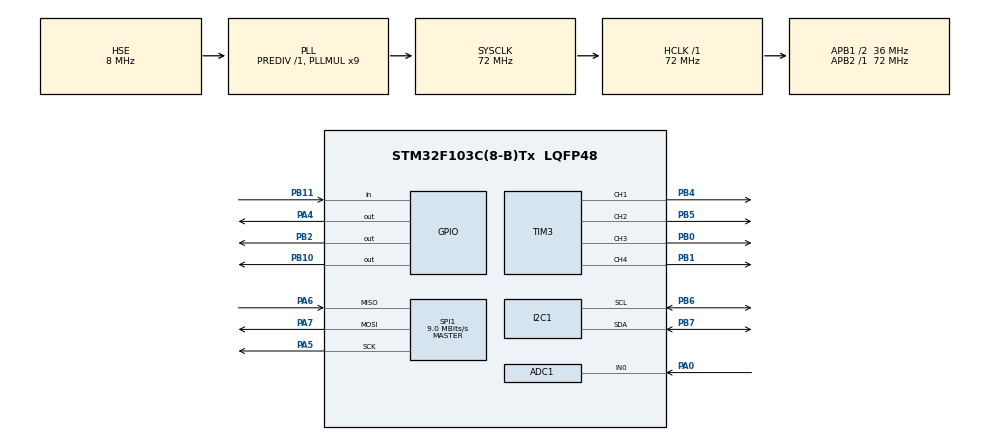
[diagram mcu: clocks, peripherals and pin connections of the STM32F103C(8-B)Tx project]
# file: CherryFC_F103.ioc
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ADC1.Channel-1\#ChannelRegularConversion=ADC_CHANNEL_0
ADC1.NbrOfConversionFlag=1
ADC1.Rank-1\#ChannelRegularConversion=1
ADC1.SamplingTime-1\#ChannelRegularConversion=ADC_SAMPLETIME_1CYCLE_5
ADC1.master=1
I2C1.I2C_Mode=I2C_Standard
Mcu.Family=STM32F1
Mcu.Name=STM32F103C(8-B)Tx
Mcu.Package=LQFP48
NVIC.PriorityGroup=NVIC_PRIORITYGROUP_4
PA0-WKUP.Signal=ADCx_IN0
PA4.Signal=GPIO_Output
PA5.Mode=Full_Duplex_Master
PA5.Signal=SPI1_SCK
PA6.Mode=Full_Duplex_Master
PA6.Signal=SPI1_MISO
PA7.Mode=Full_Duplex_Master
PA7.Signal=SPI1_MOSI
PB0.Signal=S_TIM3_CH3
PB1.Signal=S_TIM3_CH4
PB10.Signal=GPIO_Output
PB11.Signal=GPIO_Input
PB2.Signal=GPIO_Output
PB4.Signal=S_TIM3_CH1
PB5.Signal=S_TIM3_CH2
PB6.Mode=I2C
PB6.Signal=I2C1_SCL
PB7.Mode=I2C
PB7.Signal=I2C1_SDA
PD0-OSC_IN.Mode=HSE-External-Oscillator
PD0-OSC_IN.Signal=RCC_OSC_IN
PD1-OSC_OUT.Mode=HSE-External-Oscillator
PD1-OSC_OUT.Signal=RCC_OSC_OUT
ProjectManager.HeapSize=0x200
ProjectManager.StackSize=0x400
ProjectManager.TargetToolchain=STM32CubeIDE
RCC.ADCPresc=RCC_ADCPCLK2_DIV6
RCC.AHBFreq_Value=72000000
RCC.APB1CLKDivider=RCC_HCLK_DIV2
RCC.APB1Freq_Value=36000000
RCC.APB1TimFreq_Value=72000000
RCC.APB2Freq_Value=72000000
RCC.APB2TimFreq_Value=72000000
RCC.HCLKFreq_Value=72000000
RCC.PLLMUL=RCC_PLL_MUL9
RCC.PLLSourceVirtual=RCC_PLLSOURCE_HSE
RCC.SYSCLKFreq_VALUE=72000000
RCC.SYSCLKSource=RCC_SYSCLKSOURCE_PLLCLK
RCC.USBFreq_Value=72000000
SH.ADCx_IN0.0=ADC1_IN0,IN0
SH.S_TIM3_CH1.0=TIM3_CH1,Output Compare1 CH1
SH.S_TIM3_CH2.0=TIM3_CH2,Output Compare2 CH2
SH.S_TIM3_CH3.0=TIM3_CH3,Output Compare3 CH3
SH.S_TIM3_CH4.0=TIM3_CH4,Output Compare4 CH4
SPI1.BaudRatePrescaler=SPI_BAUDRATEPRESCALER_8
SPI1.CalculateBaudRate=9.0 MBits/s
SPI1.Direction=SPI_DIRECTION_2LINES
SPI1.Mode=SPI_MODE_MASTER
SPI1.VirtualType=VM_MASTER
TIM3.Channel-Output\ Compare1\ CH1=TIM_CHANNEL_1
TIM3.Channel-Output\ Compare2\ CH2=TIM_CHANNEL_2
TIM3.Channel-Output\ Compare3\ CH3=TIM_CHANNEL_3
TIM3.Channel-Output\ Compare4\ CH4=TIM_CHANNEL_4
VP_SYS_VS_ND.Mode=No_Debug
board=custom

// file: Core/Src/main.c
/* USER CODE BEGIN Header */
/**
  ******************************************************************************
  * @file           : main.c
  * @brief          : Main program body
  ******************************************************************************
  * @attention
  *
  * Copyright (c) 2025 STMicroelectronics.
  * All rights reserved.
  *
  * This software is licensed under terms that can be found in the LICENSE file
  * in the root directory of this software component.
  * If no LICENSE file comes with this software, it is provided AS-IS.
  *
  ******************************************************************************
  */
/* USER CODE END Header */
#include "main.h"

/* USER CODE BEGIN PD */
#define BMI270_CS_GPIO_Port GPIOA
#define BMI270_CS_Pin GPIO_PIN_4

#define SX1281_CS_GPIO_Port GPIOB
#define SX1281_CS_Pin GPIO_PIN_2
#define SX1281_RESET_GPIO_Port GPIOB
#define SX1281_RESET_Pin GPIO_PIN_10
#define SX1281_BUSY_GPIO_Port GPIOB
#define SX1281_BUSY_Pin GPIO_PIN_11

/* USER CODE END PD */

ADC_HandleTypeDef hadc1;

I2C_HandleTypeDef hi2c1;

SPI_HandleTypeDef hspi1;

TIM_HandleTypeDef htim3;

void SystemClock_Config(void);
static void MX_GPIO_Init(void);
static void MX_ADC1_Init(void);
static void MX_I2C1_Init(void);
static void MX_SPI1_Init(void);
static void MX_TIM3_Init(void);
/* USER CODE BEGIN PFP */
// 以下是从 flight_controller_core.h 复制过来的外部硬件驱动接口声明
uint32_t get_micros(void);
void read_imu_raw_data(int16_t* gyro_raw_out, int16_t* accel_raw_out);
void read_rc_receiver_channels(float* channels_out);
void write_motor_pwms(const float* motor_values);
/* USER CODE END PFP */

int main(void)
{

  /* MCU Configuration--------------------------------------------------------*/

  /* Reset of all peripherals, Initializes the Flash interface and the Systick. */
  HAL_Init();

  /* Configure the system clock */
  SystemClock_Config();

  /* Initialize all configured peripherals */
  MX_GPIO_Init();
  MX_ADC1_Init();
  MX_I2C1_Init();
  MX_SPI1_Init();
  MX_TIM3_Init();
  /* USER CODE BEGIN 2 */

  // 初始化BMI270
  if (BMI270_Init(&hspi1, BMI270_CS_GPIO_Port, BMI270_CS_Pin) != HAL_OK)
  {
    // 处理错误，例如LED闪烁
    Error_Handler();
  }

  // 初始化BMM150
  if (BMM150_Init(&hi2c1) != HAL_OK)
  {
    // 处理错误
    Error_Handler();
  }

  // 初始化SX1281
  if (SX1281_Init(&hspi1, SX1281_CS_GPIO_Port, SX1281_CS_Pin, SX1281_RESET_GPIO_Port, SX1281_RESET_Pin, SX1281_BUSY_GPIO_Port, SX1281_BUSY_Pin) != HAL_OK)
  {
    // 处理错误
    Error_Handler();
  }

  // 初始化DShot
  DShot_Init(&htim3, TIM_CHANNEL_1, TIM_CHANNEL_2, TIM_CHANNEL_3, TIM_CHANNEL_4); // 使用TIM3的四个通道

  FlightController_Init();

  /* USER CODE END 2 */

  /* Infinite loop */
  /* USER CODE BEGIN WHILE */
  while (1)
  {
      FlightController_Loop();
    /* USER CODE END WHILE */

  }
}

void SystemClock_Config(void)
{
  RCC_OscInitTypeDef RCC_OscInitStruct = {0};
  RCC_ClkInitTypeDef RCC_ClkInitStruct = {0};
  RCC_PeriphCLKInitTypeDef PeriphClkInit = {0};

  /** Initializes the RCC Oscillators according to the specified parameters
  * in the RCC_OscInitTypeDef structure.
  */
  RCC_OscInitStruct.OscillatorType = RCC_OSCILLATORTYPE_HSE;
  RCC_OscInitStruct.HSEState = RCC_HSE_ON;
  RCC_OscInitStruct.HSEPredivValue = RCC_HSE_PREDIV_DIV1;
  RCC_OscInitStruct.HSIState = RCC_HSI_ON;
  RCC_OscInitStruct.PLL.PLLState = RCC_PLL_ON;
  RCC_OscInitStruct.PLL.PLLSource = RCC_PLLSOURCE_HSE;
  RCC_OscInitStruct.PLL.PLLMUL = RCC_PLL_MUL9;
  if (HAL_RCC_OscConfig(&RCC_OscInitStruct) != HAL_OK)
  {
    Error_Handler();
  }

  /** Initializes the CPU, AHB and APB buses clocks
  */
  RCC_ClkInitStruct.ClockType = RCC_CLOCKTYPE_HCLK|RCC_CLOCKTYPE_SYSCLK
                              |RCC_CLOCKTYPE_PCLK1|RCC_CLOCKTYPE_PCLK2;
  RCC_ClkInitStruct.SYSCLKSource = RCC_SYSCLKSOURCE_PLLCLK;
  RCC_ClkInitStruct.AHBCLKDivider = RCC_SYSCLK_DIV1;
  RCC_ClkInitStruct.APB1CLKDivider = RCC_HCLK_DIV2;
  RCC_ClkInitStruct.APB2CLKDivider = RCC_HCLK_DIV1;

  if (HAL_RCC_ClockConfig(&RCC_ClkInitStruct, FLASH_LATENCY_2) != HAL_OK)
  {
    Error_Handler();
  }
  PeriphClkInit.PeriphClockSelection = RCC_PERIPHCLK_ADC;
  PeriphClkInit.AdcClockSelection = RCC_ADCPCLK2_DIV6;
  if (HAL_RCCEx_PeriphCLKConfig(&PeriphClkInit) != HAL_OK)
  {
    Error_Handler();
  }
}

static void MX_ADC1_Init(void)
{

  ADC_ChannelConfTypeDef sConfig = {0};

  /** Common config
  */
  hadc1.Instance = ADC1;
  hadc1.Init.ScanConvMode = ADC_SCAN_DISABLE;
  hadc1.Init.ContinuousConvMode = DISABLE;
  hadc1.Init.DiscontinuousConvMode = DISABLE;
  hadc1.Init.ExternalTrigConv = ADC_SOFTWARE_START;
  hadc1.Init.DataAlign = ADC_DATAALIGN_RIGHT;
  hadc1.Init.NbrOfConversion = 1;
  if (HAL_ADC_Init(&hadc1) != HAL_OK)
  {
    Error_Handler();
  }

  /** Configure Regular Channel
  */
  sConfig.Channel = ADC_CHANNEL_0;
  sConfig.Rank = ADC_REGULAR_RANK_1;
  sConfig.SamplingTime = ADC_SAMPLETIME_1CYCLE_5;
  if (HAL_ADC_ConfigChannel(&hadc1, &sConfig) != HAL_OK)
  {
    Error_Handler();
  }

}

static void MX_I2C1_Init(void)
{

  hi2c1.Instance = I2C1;
  hi2c1.Init.ClockSpeed = 100000;
  hi2c1.Init.DutyCycle = I2C_DUTYCYCLE_2;
  hi2c1.Init.OwnAddress1 = 0;
  hi2c1.Init.AddressingMode = I2C_ADDRESSINGMODE_7BIT;
  hi2c1.Init.DualAddressMode = I2C_DUALADDRESS_DISABLE;
  hi2c1.Init.OwnAddress2 = 0;
  hi2c1.Init.GeneralCallMode = I2C_GENERALCALL_DISABLE;
  hi2c1.Init.NoStretchMode = I2C_NOSTRETCH_DISABLE;
  if (HAL_I2C_Init(&hi2c1) != HAL_OK)
  {
    Error_Handler();
  }

}

static void MX_SPI1_Init(void)
{

  /* SPI1 parameter configuration*/
  hspi1.Instance = SPI1;
  hspi1.Init.Mode = SPI_MODE_MASTER;
  hspi1.Init.Direction = SPI_DIRECTION_2LINES;
  hspi1.Init.DataSize = SPI_DATASIZE_8BIT;
  hspi1.Init.CLKPolarity = SPI_POLARITY_LOW;
  hspi1.Init.CLKPhase = SPI_PHASE_1EDGE;
  hspi1.Init.NSS = SPI_NSS_SOFT;
  hspi1.Init.BaudRatePrescaler = SPI_BAUDRATEPRESCALER_8;
  hspi1.Init.FirstBit = SPI_FIRSTBIT_MSB;
  hspi1.Init.TIMode = SPI_TIMODE_DISABLE;
  hspi1.Init.CRCCalculation = SPI_CRCCALCULATION_DISABLE;
  hspi1.Init.CRCPolynomial = 10;
  if (HAL_SPI_Init(&hspi1) != HAL_OK)
  {
    Error_Handler();
  }

}

static void MX_TIM3_Init(void)
{

  TIM_MasterConfigTypeDef sMasterConfig = {0};
  TIM_OC_InitTypeDef sConfigOC = {0};

  htim3.Instance = TIM3;
  htim3.Init.Prescaler = 0;
  htim3.Init.CounterMode = TIM_COUNTERMODE_UP;
  htim3.Init.Period = 65535;
  htim3.Init.ClockDivision = TIM_CLOCKDIVISION_DIV1;
  htim3.Init.AutoReloadPreload = TIM_AUTORELOAD_PRELOAD_DISABLE;
  if (HAL_TIM_OC_Init(&htim3) != HAL_OK)
  {
    Error_Handler();
  }
  sMasterConfig.MasterOutputTrigger = TIM_TRGO_RESET;
  sMasterConfig.MasterSlaveMode = TIM_MASTERSLAVEMODE_DISABLE;
  if (HAL_TIMEx_MasterConfigSynchronization(&htim3, &sMasterConfig) != HAL_OK)
  {
    Error_Handler();
  }
  sConfigOC.OCMode = TIM_OCMODE_TIMING;
  sConfigOC.Pulse = 0;
  sConfigOC.OCPolarity = TIM_OCPOLARITY_HIGH;
  sConfigOC.OCFastMode = TIM_OCFAST_DISABLE;
  if (HAL_TIM_OC_ConfigChannel(&htim3, &sConfigOC, TIM_CHANNEL_1) != HAL_OK)
  {
    Error_Handler();
  }
  if (HAL_TIM_OC_ConfigChannel(&htim3, &sConfigOC, TIM_CHANNEL_2) != HAL_OK)
  {
    Error_Handler();
  }
  if (HAL_TIM_OC_ConfigChannel(&htim3, &sConfigOC, TIM_CHANNEL_3) != HAL_OK)
  {
    Error_Handler();
  }
  if (HAL_TIM_OC_ConfigChannel(&htim3, &sConfigOC, TIM_CHANNEL_4) != HAL_OK)
  {
    Error_Handler();
  }
  HAL_TIM_MspPostInit(&htim3);

}

static void MX_GPIO_Init(void)
{
  GPIO_InitTypeDef GPIO_InitStruct = {0};

  /* GPIO Ports Clock Enable */
  __HAL_RCC_GPIOD_CLK_ENABLE();
  __HAL_RCC_GPIOA_CLK_ENABLE();
  __HAL_RCC_GPIOB_CLK_ENABLE();

  /*Configure GPIO pin Output Level */
  HAL_GPIO_WritePin(GPIOA, GPIO_PIN_4, GPIO_PIN_RESET);

  /*Configure GPIO pin Output Level */
  HAL_GPIO_WritePin(GPIOB, GPIO_PIN_2|GPIO_PIN_10, GPIO_PIN_RESET);

  /*Configure GPIO pin : PA4 */
  GPIO_InitStruct.Pin = GPIO_PIN_4;
  GPIO_InitStruct.Mode = GPIO_MODE_OUTPUT_PP;
  GPIO_InitStruct.Pull = GPIO_NOPULL;
  GPIO_InitStruct.Speed = GPIO_SPEED_FREQ_LOW;
  HAL_GPIO_Init(GPIOA, &GPIO_InitStruct);

  /*Configure GPIO pins : PB2 PB10 */
  GPIO_InitStruct.Pin = GPIO_PIN_2|GPIO_PIN_10;
  GPIO_InitStruct.Mode = GPIO_MODE_OUTPUT_PP;
  GPIO_InitStruct.Pull = GPIO_NOPULL;
  GPIO_InitStruct.Speed = GPIO_SPEED_FREQ_LOW;
  HAL_GPIO_Init(GPIOB, &GPIO_InitStruct);

  /*Configure GPIO pin : PB11 */
  GPIO_InitStruct.Pin = GPIO_PIN_11;
  GPIO_InitStruct.Mode = GPIO_MODE_INPUT;
  GPIO_InitStruct.Pull = GPIO_NOPULL;
  HAL_GPIO_Init(GPIOB, &GPIO_InitStruct);

}

/* USER CODE BEGIN 4 */
// TODO: 实现你自己的微秒计时器函数
uint32_t get_micros() {
            // 例如，如果你配置了 TIM6 为 1us 计数器
            // return __HAL_TIM_GET_COUNTER(&htim6); // 假设 htim6 是你的微秒定时器句柄
                      	  return HAL_GetTick() * 1000; // 临时模拟，用毫秒乘以1000
                      }

// TODO: 实现你自己的 IMU 原始数据读取函数
void read_imu_raw_data(int16_t* gyro_raw_out, int16_t* accel_raw_out) {
// 示例：使用 SPI/I2C 读取 MPU6050
// uint8_t rx_data[14]; // MPU6050 读取加速度计和陀螺仪的数据长度
// HAL_I2C_Mem_Read(&hi2c1, MPU6050_ADDRESS, MPU6050_ACCEL_XOUT_H, I2C_MEMADD_SIZE_8BIT, rx_data, 14, 100);

// gyro_raw_out[0] = (rx_data[8] << 8) | rx_data[9];  // GyroX
// gyro_raw_out[1] = (rx_data[10] << 8) | rx_data[11]; // GyroY
// gyro_raw_out[2] = (rx_data[12] << 8) | rx_data[13]; // GyroZ

// accel_raw_out[0] = (rx_data[0] << 8) | rx_data[1];  // AccelX
// accel_raw_out[1] = (rx_data[2] << 8) | rx_data[3];  // AccelY
// accel_raw_out[2] = (rx_data[4] << 8) | rx_data[5];  // AccelZ

// 临时占位，实际应该从 IMU 传感器读取
 static uint32_t dummy_count = 0;
            gyro_raw_out[0] = 0;
            gyro_raw_out[1] = 0;
            gyro_raw_out[2] = 0; // 模拟静止

            accel_raw_out[0] = 0;
            accel_raw_out[1] = 0;
            accel_raw_out[2] = 16384; // 模拟 1G (假设 8G 量程，1G = 32768/8 = 4096，或者 MPU6050 2G 量程，1G = 16384)
            // 你需要根据你的 IMU 芯片和配置的量程来确定这里的 1G 值。
            // 例如，对于 MPU6050 2G量程，1G = 16384 LSB
            // 对于 MPU6050 8G量程，1G = 4096 LSB
            // 注意，加速度计的 Z 轴在平放时通常是 -1G 或 +1G，取决于传感器的安装方向。

            // 简单模拟一点点 Roll 变化
            gyro_raw_out[0] = (int16_t)(sinf(dummy_count * 0.01f) * 1000);
            dummy_count++;
}

        // TODO: 实现你自己的 RC 接收器通道读取函数
        void read_rc_receiver_channels(float* channels_out) {
            // 示例：从 UART 读取 CRSF/SBUS 包，或者从 TIM_IC 读取 PWM 脉宽
            // channels_out[0] = RC_MID_VALUE; // Roll
            // channels_out[1] = RC_MID_VALUE; // Pitch
            // channels_out[2] = RC_MIN_VALUE; // Throttle
            // channels_out[3] = RC_MID_VALUE; // Yaw

            // 临时占位，假设遥控器是回中和油门最低
            channels_out[0] = RC_MID_VALUE; // Roll
            channels_out[1] = RC_MID_VALUE; // Pitch
            channels_out[2] = RC_MIN_VALUE; // Throttle
            channels_out[3] = RC_MID_VALUE; // Yaw
        }

        // TODO: 实现你自己的电机 PWM 输出函数
        void write_motor_pwms(const float* motor_values) {
            // 示例：使用 HAL_TIM_PWM_SetCompare 设置 PWM 占空比
            // __HAL_TIM_SET_COMPARE(&htim1, TIM_CHANNEL_1, (uint32_t)motor_values[0]); // Motor 1
            // __HAL_TIM_SET_COMPARE(&htim1, TIM_CHANNEL_2, (uint32_t)motor_values[1]); // Motor 2
            // __HAL_TIM_SET_COMPARE(&htim1, TIM_CHANNEL_3, (uint32_t)motor_values[2]); // Motor 3
            // __HAL_TIM_SET_COMPARE(&htim1, TIM_CHANNEL_4, (uint32_t)motor_values[3]); // Motor 4
            // 这里只是占位，实际你需要启动 PWM 通道 HAL_TIM_PWM_Start(&htim1, TIM_CHANNEL_1);
        }
/* USER CODE END 4 */

void Error_Handler(void)
{
  __disable_irq();
  while (1)
  {
  }
}
